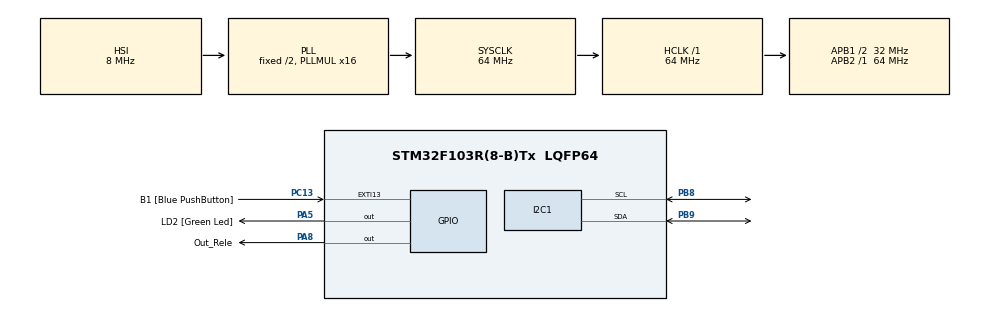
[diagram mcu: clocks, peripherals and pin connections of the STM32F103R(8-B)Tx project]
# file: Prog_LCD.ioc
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Mcu.Family=STM32F1
Mcu.Name=STM32F103R(8-B)Tx
Mcu.Package=LQFP64
NVIC.EXTI15_10_IRQn=true\:0\:0\:false\:false\:true\:true\:true\:true
NVIC.PriorityGroup=NVIC_PRIORITYGROUP_4
PA13.GPIO_Label=TMS
PA13.Mode=Serial_Wire
PA13.Signal=SYS_JTMS-SWDIO
PA14.GPIO_Label=TCK
PA14.Mode=Serial_Wire
PA14.Signal=SYS_JTCK-SWCLK
PA2.GPIO_Label=USART_TX
PA2.GPIO_Mode=GPIO_MODE_AF_PP
PA2.GPIO_PuPd=GPIO_NOPULL
PA2.GPIO_Speed=GPIO_SPEED_FREQ_LOW
PA2.Signal=USART2_TX
PA3.GPIO_Label=USART_RX
PA3.GPIO_Mode=GPIO_MODE_AF_PP
PA3.GPIO_PuPd=GPIO_NOPULL
PA3.GPIO_Speed=GPIO_SPEED_FREQ_LOW
PA3.Signal=USART2_RX
PA5.GPIO_Label=LD2 [Green Led]
PA5.GPIO_ModeDefaultOutputPP=GPIO_MODE_OUTPUT_PP
PA5.GPIO_PuPd=GPIO_NOPULL
PA5.GPIO_Speed=GPIO_SPEED_FREQ_LOW
PA5.Signal=GPIO_Output
PA8.GPIO_Label=Out_Rele
PA8.Signal=GPIO_Output
PB3.GPIO_Label=SWO
PB3.Signal=SYS_JTDO-TRACESWO
PB8.Mode=I2C
PB8.Signal=I2C1_SCL
PB9.Mode=I2C
PB9.Signal=I2C1_SDA
PC13-TAMPER-RTC.GPIO_Label=B1 [Blue PushButton]
PC13-TAMPER-RTC.GPIO_ModeDefaultEXTI=GPIO_MODE_IT_FALLING
PC13-TAMPER-RTC.GPIO_PuPd=GPIO_NOPULL
PC13-TAMPER-RTC.Signal=GPXTI13
PC14-OSC32_IN.Signal=RCC_OSC32_IN
PC15-OSC32_OUT.Signal=RCC_OSC32_OUT
PD0-OSC_IN.Signal=RCC_OSC_IN
PD1-OSC_OUT.Signal=RCC_OSC_OUT
ProjectManager.HeapSize=0x200
ProjectManager.StackSize=0x400
ProjectManager.TargetToolchain=STM32CubeIDE
RCC.AHBFreq_Value=64000000
RCC.APB1CLKDivider=RCC_HCLK_DIV2
RCC.APB1Freq_Value=32000000
RCC.APB1TimFreq_Value=64000000
RCC.APB2Freq_Value=64000000
RCC.APB2TimFreq_Value=64000000
RCC.HCLKFreq_Value=64000000
RCC.PLLMUL=RCC_PLL_MUL16
RCC.SYSCLKFreq_VALUE=64000000
RCC.SYSCLKSource=RCC_SYSCLKSOURCE_PLLCLK
RCC.USBFreq_Value=64000000
board=NUCLEO-F103RB

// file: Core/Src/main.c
/* USER CODE BEGIN Header */
/**
  ******************************************************************************
  * @file           : main.c
  * @brief          : Main program body
  ******************************************************************************
  * @attention
  *
  * Copyright (c) 2026 STMicroelectronics.
  * All rights reserved.
  *
  * This software is licensed under terms that can be found in the LICENSE file
  * in the root directory of this software component.
  * If no LICENSE file comes with this software, it is provided AS-IS.
  *
  ******************************************************************************
  */
/* USER CODE END Header */
#include "main.h"

/* USER CODE BEGIN Includes */
#include <stdio.h>
#include "liquidcrystal_i2c.h"
/* USER CODE END Includes */

I2C_HandleTypeDef hi2c1;

/* USER CODE BEGIN PV */
volatile int cont = 0;
int cont_anterior = -1;
uint32_t ultimo_clique = 0;
char snum[16];
/* USER CODE END PV */

void SystemClock_Config(void);
static void MX_GPIO_Init(void);
static void MX_I2C1_Init(void);

int main(void)
{

  /* MCU Configuration--------------------------------------------------------*/

  /* Reset of all peripherals, Initializes the Flash interface and the Systick. */
  HAL_Init();

  /* Configure the system clock */
  SystemClock_Config();

  /* Initialize all configured peripherals */
  MX_GPIO_Init();
  MX_I2C1_Init();
  /* USER CODE BEGIN 2 */
  // Garante que o relé comece DESLIGADO
    HAL_GPIO_WritePin(GPIOA, Out_Rele_Pin, GPIO_PIN_SET);

    HD44780_Init(2);
    HD44780_Clear();
    HAL_Delay(50);
    HD44780_Backlight();

    HD44780_SetCursor(4,0);
    HD44780_PrintStr("SENAI SC");
    HD44780_SetCursor(0,1);
    HD44780_PrintStr("Form. Eletronica");
    HAL_Delay(2000);

    HD44780_Clear();
    HAL_Delay(50);
  /* USER CODE END 2 */

  /* Infinite loop */
  while (1)
  {

    /* USER CODE BEGIN 3 */
	  if (cont != cont_anterior)
	      {
	        cont_anterior = cont; // Atualiza o registro

	        HD44780_Clear();
	        HAL_Delay(20); // Pausa essencial após o Clear para não perder caracteres

	        HD44780_SetCursor(0, 0);
	        sprintf(snum, "Contagem: %02d", cont);
	        HD44780_PrintStr(snum);

	        if (cont >= 15)
	        {
	          // ACIONA O RELÉ E EXIBE NO DISPLAY
	          HAL_GPIO_WritePin(GPIOA, Out_Rele_Pin, GPIO_PIN_RESET);
	          HD44780_SetCursor(2, 1);
	          HD44780_PrintStr("RELE ATIVADO");

	          HAL_Delay(2000);

	          HAL_GPIO_WritePin(GPIOA, Out_Rele_Pin, GPIO_PIN_SET);
	          cont = 0;
	        }
	        else
	        {
	          // MANTÉM O RELÉ DESLIGADO
	          HAL_GPIO_WritePin(GPIOA, Out_Rele_Pin, GPIO_PIN_SET);
	        }
	      }

	      HAL_Delay(50);
  }
  /* USER CODE END 3 */
}

void SystemClock_Config(void)
{
  RCC_OscInitTypeDef RCC_OscInitStruct = {0};
  RCC_ClkInitTypeDef RCC_ClkInitStruct = {0};

  /** Initializes the RCC Oscillators according to the specified parameters
  * in the RCC_OscInitTypeDef structure.
  */
  RCC_OscInitStruct.OscillatorType = RCC_OSCILLATORTYPE_HSI;
  RCC_OscInitStruct.HSIState = RCC_HSI_ON;
  RCC_OscInitStruct.HSICalibrationValue = RCC_HSICALIBRATION_DEFAULT;
  RCC_OscInitStruct.PLL.PLLState = RCC_PLL_ON;
  RCC_OscInitStruct.PLL.PLLSource = RCC_PLLSOURCE_HSI_DIV2;
  RCC_OscInitStruct.PLL.PLLMUL = RCC_PLL_MUL16;
  if (HAL_RCC_OscConfig(&RCC_OscInitStruct) != HAL_OK)
  {
    Error_Handler();
  }

  /** Initializes the CPU, AHB and APB buses clocks
  */
  RCC_ClkInitStruct.ClockType = RCC_CLOCKTYPE_HCLK|RCC_CLOCKTYPE_SYSCLK
                              |RCC_CLOCKTYPE_PCLK1|RCC_CLOCKTYPE_PCLK2;
  RCC_ClkInitStruct.SYSCLKSource = RCC_SYSCLKSOURCE_PLLCLK;
  RCC_ClkInitStruct.AHBCLKDivider = RCC_SYSCLK_DIV1;
  RCC_ClkInitStruct.APB1CLKDivider = RCC_HCLK_DIV2;
  RCC_ClkInitStruct.APB2CLKDivider = RCC_HCLK_DIV1;

  if (HAL_RCC_ClockConfig(&RCC_ClkInitStruct, FLASH_LATENCY_2) != HAL_OK)
  {
    Error_Handler();
  }
}

static void MX_I2C1_Init(void)
{

  hi2c1.Instance = I2C1;
  hi2c1.Init.ClockSpeed = 100000;
  hi2c1.Init.DutyCycle = I2C_DUTYCYCLE_2;
  hi2c1.Init.OwnAddress1 = 0;
  hi2c1.Init.AddressingMode = I2C_ADDRESSINGMODE_7BIT;
  hi2c1.Init.DualAddressMode = I2C_DUALADDRESS_DISABLE;
  hi2c1.Init.OwnAddress2 = 0;
  hi2c1.Init.GeneralCallMode = I2C_GENERALCALL_DISABLE;
  hi2c1.Init.NoStretchMode = I2C_NOSTRETCH_DISABLE;
  if (HAL_I2C_Init(&hi2c1) != HAL_OK)
  {
    Error_Handler();
  }

}

static void MX_GPIO_Init(void)
{
  GPIO_InitTypeDef GPIO_InitStruct = {0};

  /* GPIO Ports Clock Enable */
  __HAL_RCC_GPIOC_CLK_ENABLE();
  __HAL_RCC_GPIOD_CLK_ENABLE();
  __HAL_RCC_GPIOA_CLK_ENABLE();
  __HAL_RCC_GPIOB_CLK_ENABLE();

  /*Configure GPIO pin Output Level */
  HAL_GPIO_WritePin(GPIOA, LD2_Pin|Out_Rele_Pin, GPIO_PIN_RESET);

  /*Configure GPIO pin : B1_Pin */
  GPIO_InitStruct.Pin = B1_Pin;
  GPIO_InitStruct.Mode = GPIO_MODE_IT_FALLING;
  GPIO_InitStruct.Pull = GPIO_NOPULL;
  HAL_GPIO_Init(B1_GPIO_Port, &GPIO_InitStruct);

  /*Configure GPIO pins : USART_TX_Pin USART_RX_Pin */
  GPIO_InitStruct.Pin = USART_TX_Pin|USART_RX_Pin;
  GPIO_InitStruct.Mode = GPIO_MODE_AF_PP;
  GPIO_InitStruct.Speed = GPIO_SPEED_FREQ_LOW;
  HAL_GPIO_Init(GPIOA, &GPIO_InitStruct);

  /*Configure GPIO pins : LD2_Pin Out_Rele_Pin */
  GPIO_InitStruct.Pin = LD2_Pin|Out_Rele_Pin;
  GPIO_InitStruct.Mode = GPIO_MODE_OUTPUT_PP;
  GPIO_InitStruct.Pull = GPIO_NOPULL;
  GPIO_InitStruct.Speed = GPIO_SPEED_FREQ_LOW;
  HAL_GPIO_Init(GPIOA, &GPIO_InitStruct);

  /* EXTI interrupt init*/
  HAL_NVIC_SetPriority(EXTI15_10_IRQn, 0, 0);
  HAL_NVIC_EnableIRQ(EXTI15_10_IRQn);

  /* USER CODE BEGIN MX_GPIO_Init_2 */
  	  // Reconfigura o pino D7 (Out_Rele_Pin) como Open-Drain para conseguir desligar relé de 5V
		GPIO_InitStruct.Pin = Out_Rele_Pin;
		GPIO_InitStruct.Mode = GPIO_MODE_OUTPUT_OD;
		GPIO_InitStruct.Pull = GPIO_NOPULL;
		GPIO_InitStruct.Speed = GPIO_SPEED_FREQ_LOW;
		HAL_GPIO_Init(GPIOA, &GPIO_InitStruct);

		// Em Open-Drain, SET desliga (abre a chave) e RESET liga (aterra no GND)
		HAL_GPIO_WritePin(GPIOA, Out_Rele_Pin, GPIO_PIN_SET);
  /* USER CODE END MX_GPIO_Init_2 */
}

/* USER CODE BEGIN 4 */
void HAL_GPIO_EXTI_Callback(uint16_t GPIO_Pin)
{
  // Verifica se a interrupção veio do botão B1
  if (GPIO_Pin == B1_Pin)
  {
    // Filtro de debounce (ignora cliques com menos de 200ms de diferença)
    if ((HAL_GetTick() - ultimo_clique) > 200)
    {
      cont++;
      ultimo_clique = HAL_GetTick();
    }
  }
}
/* USER CODE END 4 */

void Error_Handler(void)
{
  __disable_irq();
  while (1)
  {
  }
}
